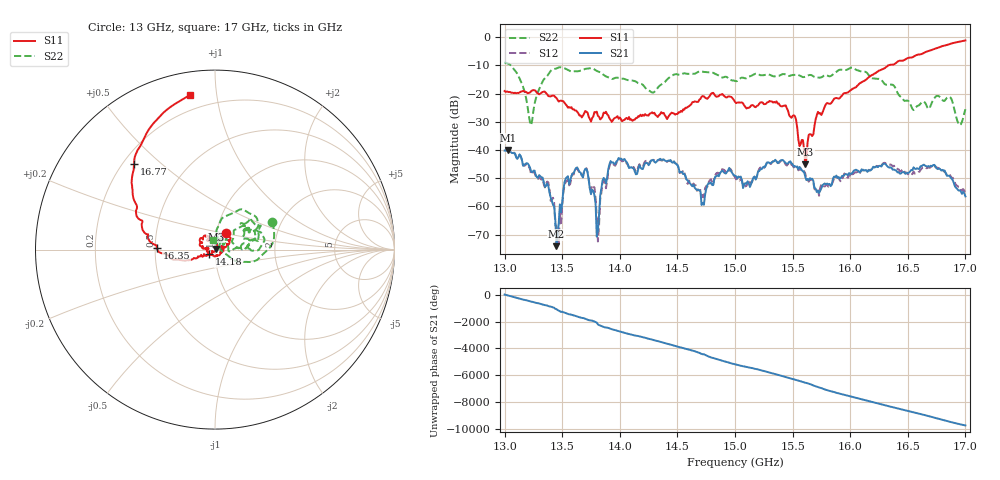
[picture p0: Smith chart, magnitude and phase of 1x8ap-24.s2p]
!Keysight Technologies,P9374A,MY57211807,A.19.30.04
!Date: Friday, May 08, 2026 15:42:47
!Correction: S11(C  2-Port  )
!S21(C  2-Port  )
!S12(C  2-Port  )
!S22(C  2-Port  )
!S2P File: Measurements: S11, S21, S12, S22:
# Hz S  dB  R 50
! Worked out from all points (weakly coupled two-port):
!   401 points, 13 GHz to 17 GHz, reference 50 ohm
!   highest |S21| = -39.98 dB at 13.03 GHz (marker M1); lowest = -74.1 dB at 13.45 GHz (marker M2)
!   lowest |S11| = -45.1 dB at 15.61 GHz (marker M3), VSWR 1.01, Z = 50.4 + j0.338 ohm
!   |S11| at or under -10 dB: start of sweep to 16.33 GHz
!   |S22| runs from -31.2 to -9.0 dB; largest |S21 - S12| = 0.001
!   S11 on the Smith chart (normalised r, x): 13 GHz: 1.11, +0.21; 14.18 GHz: 0.93, -0.05; 16.35 GHz: 0.51, +0.01; 16.77 GHz: 0.24, +0.41; 17 GHz: 0.12, +0.84
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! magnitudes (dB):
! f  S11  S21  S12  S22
! 13 GHz  -19.1  -40.2  -40.0  -9.0
! 13.03 GHz  -19.4  -40.0  -39.7  -9.4
! 13.23 GHz  -19.2  -47.6  -48.6  -31.2
! 13.37 GHz  -20.3  -51.8  -51.2  -13.8
! 13.45 GHz  -21.6  -74.1  -66.8  -11.1
! 13.53 GHz  -23.8  -50.1  -51.4  -11.2
! 13.67 GHz  -28.5  -49.0  -49.0  -11.8
! 13.81 GHz  -27.9  -68.7  -72.4  -12.2
! 13.92 GHz  -29.3  -43.9  -44.5  -14.7
! 14.18 GHz  -27.5  -46.2  -45.6  -16.5
! 14.34 GHz  -27.7  -43.4  -43.6  -17.4
! 14.72 GHz  -20.9  -58.8  -55.2  -12.2
! 15 GHz  -23.0  -49.1  -49.6  -15.5
! 15.43 GHz  -24.3  -44.2  -44.4  -13.1
! 15.61 GHz  -45.1  -49.4  -48.4  -14.0
! 15.67 GHz  -35.1  -50.2  -50.7  -13.6
! 15.8 GHz  -23.3  -51.9  -52.3  -13.6
! 16.34 GHz  -9.9  -46.2  -45.2  -16.8
! 16.35 GHz  -9.8  -46.1  -45.1  -16.8
! 16.55 GHz  -6.9  -46.2  -47.6  -25.8
! 16.77 GHz  -3.6  -46.5  -46.5  -20.9
! 17 GHz  -1.2  -56.4  -55.5  -25.6
